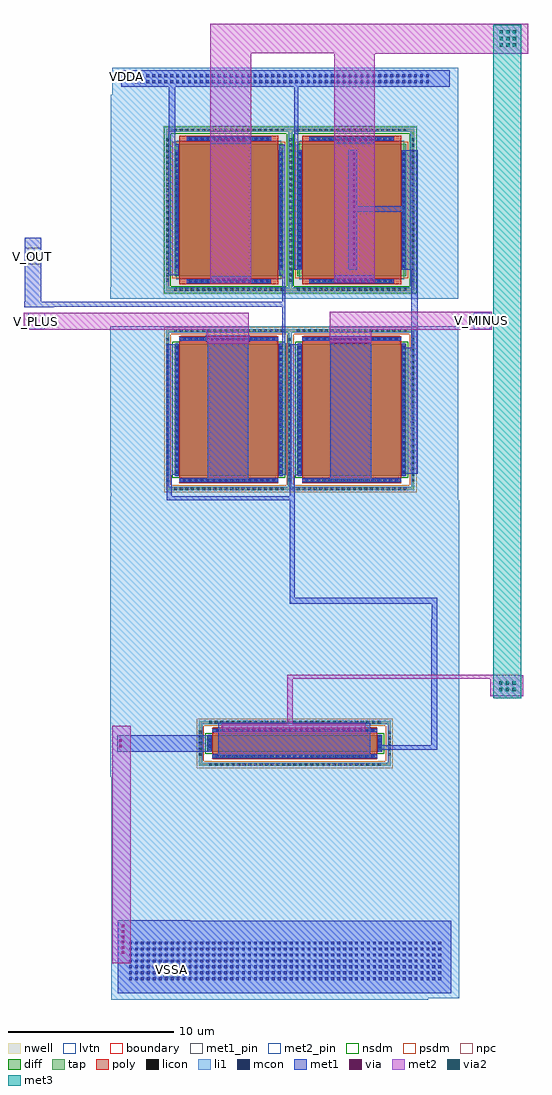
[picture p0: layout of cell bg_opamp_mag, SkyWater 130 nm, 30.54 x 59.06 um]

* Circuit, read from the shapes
.subckt bg_opamp_mag VDDA VSSA V_MINUS V_OUT V_PLUS
XM1 V_OUT V_PLUS sky130_fd_pr__nfet_01v8_GRFR5H_1/D VSSA sky130_fd_pr__nfet_01v8 w=8 l=6
XM2 sky130_fd_pr__nfet_01v8_GRFR5H_1/D sky130_fd_pr__nfet_01v8_FZAR6W_0/G VSSA VSSA sky130_fd_pr__nfet_01v8 w=1 l=10
XM3 sky130_fd_pr__nfet_01v8_FZAR6W_0/G V_MINUS sky130_fd_pr__nfet_01v8_GRFR5H_1/D VSSA sky130_fd_pr__nfet_01v8 w=8 l=6
XM4 V_OUT sky130_fd_pr__nfet_01v8_FZAR6W_0/G VDDA VDDA sky130_fd_pr__pfet_01v8_lvt w=8 l=6
XM5 sky130_fd_pr__nfet_01v8_FZAR6W_0/G sky130_fd_pr__nfet_01v8_FZAR6W_0/G VDDA VDDA sky130_fd_pr__pfet_01v8_lvt w=8 l=6
.ends

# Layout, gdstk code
import gdstk
lib = gdstk.Library(unit=1e-6, precision=1e-09)
def R(c, l, rs):  # rectangles x0, y0, x1, y1
    for r in rs: c.add(gdstk.rectangle(r[:2], r[2:], *l))
def A(c, l, x, y, w, h, nx, ny, dx, dy):  # array of equal rectangles
    R(c, l, [(x+i*dx, y+j*dy, x+i*dx+w, y+j*dy+h) for i in range(nx) for j in range(ny)])
nwell = (64, 20)
diff = (65, 20)
tap = (65, 44)
poly = (66, 20)
licon = (66, 44)
li1 = (67, 20)
mcon = (67, 44)
met1_pin = (68, 16)
met1 = (68, 20)
via = (68, 44)
met2_pin = (69, 16)
met2 = (69, 20)
via2 = (69, 44)
met3 = (70, 20)
nsdm = (93, 44)
psdm = (94, 20)
npc = (95, 20)
lvtn = (125, 44)
boundary = (235, 4)

sky130_fd_pr__nfet_01v8_ = lib.new_cell('sky130_fd_pr__nfet_01v8_FZAR6W')
R(sky130_fd_pr__nfet_01v8_, diff, [(-5.29,-0.5,5.29,0.5)])
R(sky130_fd_pr__nfet_01v8_, tap, [(-5.8,-1.37,5.8,-1.2), (-5.8,-1.2,-5.63,1.2), (5.63,-1.2,5.8,1.2), (-5.8,1.2,5.8,1.37)])
R(sky130_fd_pr__nfet_01v8_, poly, [(-5,-0.94,5,0.94)])
A(sky130_fd_pr__nfet_01v8_, licon, -5.185, -1.37, 0.17, 0.17, 31, 2, 0.34, 2.57)
A(sky130_fd_pr__nfet_01v8_, licon, -4.845, -0.86, 0.17, 0.17, 29, 2, 0.34, 1.55)
A(sky130_fd_pr__nfet_01v8_, licon, -5.8, -0.765, 0.17, 0.17, 1, 5, 0, 0.34)
A(sky130_fd_pr__nfet_01v8_, licon, 5.63, -0.765, 0.17, 0.17, 1, 5, 0, 0.34)
A(sky130_fd_pr__nfet_01v8_, licon, -5.23, -0.425, 0.17, 0.17, 1, 3, 0, 0.34)
A(sky130_fd_pr__nfet_01v8_, licon, 5.06, -0.425, 0.17, 0.17, 1, 3, 0, 0.34)
R(sky130_fd_pr__nfet_01v8_, li1, [(-5.8,-1.37,5.8,-1.2), (-5.8,-1.2,-5.63,1.2), (5.63,-1.2,5.8,1.2), (-5,-0.86,5,-0.69), (-5.23,-0.52,-5.06,0.52), (5.06,-0.52,5.23,0.52), (-5,0.69,5,0.86), (-5.8,1.2,5.8,1.37)])
A(sky130_fd_pr__nfet_01v8_, mcon, -4.765, -0.86, 0.17, 0.17, 27, 2, 0.36, 1.55)
R(sky130_fd_pr__nfet_01v8_, mcon, [(-5.23,-0.265,-5.06,-0.095), (5.06,-0.265,5.23,-0.095), (-5.23,0.095,-5.06,0.265), (5.06,0.095,5.23,0.265)])
R(sky130_fd_pr__nfet_01v8_, met1, [(-4.98,-0.89,4.98,-0.66), (-5.26,-0.5,-5.03,0.5), (5.03,-0.5,5.26,0.5), (-4.98,0.66,4.98,0.89)])
R(sky130_fd_pr__nfet_01v8_, nsdm, [(-5.415,-0.625,5.415,0.625)])
R(sky130_fd_pr__nfet_01v8_, psdm, [(-5.925,-1.495,5.925,-1.075), (-5.925,-1.075,-5.505,1.075), (5.505,-1.075,5.925,1.075), (-5.925,1.075,5.925,1.495)])
R(sky130_fd_pr__nfet_01v8_, npc, [(-4.945,-0.96,4.945,-0.59), (-4.945,0.59,4.945,0.96)])
R(sky130_fd_pr__nfet_01v8_, boundary, [(-5.715,-1.285,5.715,1.285)])
sky130_fd_pr__nfet_01v8_.add(gdstk.Label('B', (0,-1.285), layer=67, texttype=5))
sky130_fd_pr__nfet_01v8_.add(gdstk.Label('D', (-5.145,0), layer=67, texttype=5))
sky130_fd_pr__nfet_01v8_.add(gdstk.Label('S', (5.145,0), layer=67, texttype=5))
sky130_fd_pr__nfet_01v8_.add(gdstk.Label('G', (0,0.775), layer=67, texttype=5))

c_sky130_fd_pr__nfet_01v8_ = lib.new_cell('sky130_fd_pr__nfet_01v8_GRFR5H')
R(c_sky130_fd_pr__nfet_01v8_, diff, [(-3.29,-4,3.29,4)])
R(c_sky130_fd_pr__nfet_01v8_, tap, [(-3.8,-4.87,3.8,-4.7), (-3.8,-4.7,-3.63,4.7), (3.63,-4.7,3.8,4.7), (-3.8,4.7,3.8,4.87)])
R(c_sky130_fd_pr__nfet_01v8_, poly, [(-3,-4.44,3,4.44)])
A(c_sky130_fd_pr__nfet_01v8_, licon, -3.315, -4.87, 0.17, 0.17, 20, 2, 0.34, 9.57)
A(c_sky130_fd_pr__nfet_01v8_, licon, -2.805, -4.36, 0.17, 0.17, 17, 2, 0.34, 8.55)
A(c_sky130_fd_pr__nfet_01v8_, licon, -3.8, -4.335, 0.17, 0.17, 1, 26, 0, 0.34)
A(c_sky130_fd_pr__nfet_01v8_, licon, 3.63, -4.335, 0.17, 0.17, 1, 26, 0, 0.34)
A(c_sky130_fd_pr__nfet_01v8_, licon, -3.23, -3.825, 0.17, 0.17, 1, 23, 0, 0.34)
A(c_sky130_fd_pr__nfet_01v8_, licon, 3.06, -3.825, 0.17, 0.17, 1, 23, 0, 0.34)
R(c_sky130_fd_pr__nfet_01v8_, li1, [(-3.8,-4.87,3.8,-4.7), (-3.8,-4.7,-3.63,4.7), (3.63,-4.7,3.8,4.7), (-3,-4.36,3,-4.19), (-3.23,-4.02,-3.06,4.02), (3.06,-4.02,3.23,4.02), (-3,4.19,3,4.36), (-3.8,4.7,3.8,4.87)])
A(c_sky130_fd_pr__nfet_01v8_, mcon, -2.785, -4.36, 0.17, 0.17, 16, 2, 0.36, 8.55)
A(c_sky130_fd_pr__nfet_01v8_, mcon, -3.23, -3.865, 0.17, 0.17, 1, 22, 0, 0.36)
A(c_sky130_fd_pr__nfet_01v8_, mcon, 3.06, -3.865, 0.17, 0.17, 1, 22, 0, 0.36)
R(c_sky130_fd_pr__nfet_01v8_, met1, [(-2.98,-4.39,2.98,-4.16), (-3.26,-4,-3.03,4), (3.03,-4,3.26,4), (-2.98,4.16,2.98,4.39)])
R(c_sky130_fd_pr__nfet_01v8_, nsdm, [(-3.415,-4.125,3.415,4.125)])
R(c_sky130_fd_pr__nfet_01v8_, psdm, [(-3.925,-4.995,3.925,-4.575), (-3.925,-4.575,-3.505,4.575), (3.505,-4.575,3.925,4.575), (-3.925,4.575,3.925,4.995)])
R(c_sky130_fd_pr__nfet_01v8_, npc, [(-2.905,-4.46,2.905,-4.09), (-2.905,4.09,2.905,4.46)])
R(c_sky130_fd_pr__nfet_01v8_, boundary, [(-3.715,-4.785,3.715,4.785)])
c_sky130_fd_pr__nfet_01v8_.add(gdstk.Label('B', (0,-4.785), layer=67, texttype=5))
c_sky130_fd_pr__nfet_01v8_.add(gdstk.Label('D', (-3.145,0), layer=67, texttype=5))
c_sky130_fd_pr__nfet_01v8_.add(gdstk.Label('S', (3.145,0), layer=67, texttype=5))
c_sky130_fd_pr__nfet_01v8_.add(gdstk.Label('G', (0,4.275), layer=67, texttype=5))

sky130_fd_pr__pfet_01v8_ = lib.new_cell('sky130_fd_pr__pfet_01v8_lvt_KLHPYA')
R(sky130_fd_pr__pfet_01v8_, nwell, [(-3.98,-5.095,3.98,5.095)])
R(sky130_fd_pr__pfet_01v8_, diff, [(-3.29,-4,3.29,4)])
R(sky130_fd_pr__pfet_01v8_, tap, [(-3.8,-4.915,3.8,-4.745), (-3.8,-4.745,-3.63,4.745), (3.63,-4.745,3.8,4.745), (-3.8,4.745,3.8,4.915)])
R(sky130_fd_pr__pfet_01v8_, poly, [(-3,-4.485,3,4.485)])
A(sky130_fd_pr__pfet_01v8_, licon, -3.315, -4.915, 0.17, 0.17, 20, 2, 0.34, 9.66)
A(sky130_fd_pr__pfet_01v8_, licon, -2.465, -4.405, 0.17, 0.17, 15, 2, 0.34, 8.64)
A(sky130_fd_pr__pfet_01v8_, licon, -3.8, -4.335, 0.17, 0.17, 1, 26, 0, 0.34)
A(sky130_fd_pr__pfet_01v8_, licon, 3.63, -4.335, 0.17, 0.17, 1, 26, 0, 0.34)
A(sky130_fd_pr__pfet_01v8_, licon, -3.23, -3.485, 0.17, 0.17, 1, 21, 0, 0.34)
A(sky130_fd_pr__pfet_01v8_, licon, 3.06, -3.485, 0.17, 0.17, 1, 21, 0, 0.34)
R(sky130_fd_pr__pfet_01v8_, li1, [(-3.8,-4.915,3.8,-4.745), (-3.8,-4.745,-3.63,4.745), (3.63,-4.745,3.8,4.745), (-2.555,-4.405,2.545,-4.235), (3.06,-3.605,3.23,3.61), (-3.23,-3.595,-3.06,3.625), (-2.555,4.235,2.55,4.405), (-2.555,4.405,-2.245,4.41), (-3.8,4.745,3.8,4.915)])
A(sky130_fd_pr__pfet_01v8_, mcon, -2.425, -4.405, 0.17, 0.17, 14, 2, 0.36, 8.64)
A(sky130_fd_pr__pfet_01v8_, mcon, -3.23, -3.505, 0.17, 0.17, 1, 20, 0, 0.36)
A(sky130_fd_pr__pfet_01v8_, mcon, 3.06, -3.505, 0.17, 0.17, 1, 20, 0, 0.36)
R(sky130_fd_pr__pfet_01v8_, met1, [(-2.555,-4.435,2.545,-4.205), (3.03,-3.605,3.26,3.61), (-3.26,-3.595,-3.03,3.625), (-2.555,4.205,2.55,4.435)])
R(sky130_fd_pr__pfet_01v8_, nsdm, [(-3.925,-5.04,3.925,-4.62), (-3.925,-4.62,-3.505,4.62), (3.505,-4.62,3.925,4.62), (-3.925,4.62,3.925,5.04)])
R(sky130_fd_pr__pfet_01v8_, psdm, [(-3.415,-4.125,3.415,4.125)])
R(sky130_fd_pr__pfet_01v8_, npc, [(-2.565,-4.505,2.565,-4.135), (-2.565,4.135,2.565,4.505)])
R(sky130_fd_pr__pfet_01v8_, lvtn, [(-3.18,-4.18,3.18,4.18)])
R(sky130_fd_pr__pfet_01v8_, boundary, [(-3.715,-4.83,3.715,4.83)])
sky130_fd_pr__pfet_01v8_.add(gdstk.Label('B', (0,-4.83), layer=67, texttype=5))
sky130_fd_pr__pfet_01v8_.add(gdstk.Label('D', (-3.145,0), layer=67, texttype=5))
sky130_fd_pr__pfet_01v8_.add(gdstk.Label('S', (3.145,0), layer=67, texttype=5))
sky130_fd_pr__pfet_01v8_.add(gdstk.Label('G', (0,4.32), layer=67, texttype=5))

bg_opamp_mag = lib.new_cell('bg_opamp_mag')
R(bg_opamp_mag, li1, [(9.47,-9.03,28.65,-8.94), (9.47,-8.94,30.52,4.44), (9.4,4.44,30.52,5.31), (9.4,5.31,15.01,7.64), (26.21,5.31,30.52,7.64), (9.4,7.64,30.52,21.19), (9.4,21.19,30.47,21.42), (9.43,21.42,30.47,21.66), (9.41,21.66,30.47,21.99), (9.41,21.99,12.97,31.32), (20.16,21.99,20.39,31.32), (27.63,21.99,30.47,31.32), (9.41,31.32,30.47,31.72), (9.4,33.37,30.47,34.06), (9.44,34.06,12.98,43.48), (20.19,34.06,20.45,43.48), (27.57,34.06,30.47,43.48), (9.44,43.48,30.47,45.72), (9.53,45.72,30.47,47.36)])
A(bg_opamp_mag, mcon, 10.55, -7.86, 0.17, 0.17, 53, 7, 0.36, 0.36)
A(bg_opamp_mag, mcon, 10.88, 46.425, 0.17, 0.17, 50, 2, 0.36, 0.36)
R(bg_opamp_mag, met1_pin, [(12.61,-7.69,13.61,-6.69), (4.23,35.46,5.23,36.46)])
R(bg_opamp_mag, met1, [(9.85,-8.66,30.05,-4.26), (9.85,-4.26,14.25,-4.24), (15.95,5.6,25.14,7.72), (9.83,5.97,15.54,6.09), (25.64,6.07,29.21,6.35), (9.83,6.09,15.55,6.97), (28.84,6.35,29.21,13.99), (28.875,13.99,29.21,14.92), (20.27,14.92,29.21,15.28), (20.27,15.28,20.58,16.75), (20.28,16.75,20.57,21.17), (12.82,21.17,20.57,21.43), (12.82,21.43,13.12,22.72), (20.28,21.43,20.57,21.47), (20.28,21.47,20.56,22.68), (15.3,22.27,17.77,30.79), (22.72,22.28,25.19,31.13), (13.3,22.67,13.53,22.72), (20.28,22.68,20.97,23.95), (12.82,22.72,13.54,23.02), (19.65,22.72,20.07,30.59), (27.09,22.795,28.02,30.41), (12.83,23.02,13.54,30.61), (20.3,23.95,20.97,30.61), (27.615,30.41,28.02,35.13), (19.81,30.59,20.07,30.67), (19.81,30.67,19.99,32.89), (15.2,30.79,17.85,31.16), (4.22,32.87,6.03,32.89), (4.22,32.89,19.99,33.19), (4.23,33.19,5.23,37.08), (19.81,33.19,19.99,34.81), (15.48,34.31,17.95,34.35), (23,34.34,25.39,34.8), (15.47,34.35,17.95,34.54), (15.48,34.54,17.95,34.735), (13.305,34.79,13.55,34.795), (12.94,34.795,13.55,42.72), (19.63,34.81,19.99,42.68), (23.825,35.13,24.365,38.63), (27.05,35.13,28.02,35.16), (20.54,35.14,20.79,35.665), (27.065,35.16,28.02,35.2), (27.065,35.2,27.155,38.63), (27.25,35.2,28.02,42.2), (20.53,35.665,20.96,42.255), (23.825,38.63,27.155,38.96), (23.825,38.96,24.365,42.385), (27.065,38.96,27.155,42.2), (27.065,42.2,28.02,42.36), (20.53,42.255,20.8,42.385), (27.215,42.36,28.02,42.37), (20.53,42.385,20.775,46.21), (12.94,42.72,13.33,46.21), (15.455,42.755,17.925,43.18), (23,42.78,25.39,43.13), (15.475,43.18,17.86,43.195), (10.085,46.21,29.94,47.195)])
A(bg_opamp_mag, via, 10.105, -6.27, 0.15, 0.15, 1, 6, 0, 0.32)
A(bg_opamp_mag, via, 16.435, 7.265, 0.15, 0.15, 26, 1, 0.32, 0)
A(bg_opamp_mag, via, 15.49, 30.82, 0.15, 0.15, 7, 1, 0.32, 0)
A(bg_opamp_mag, via, 22.905, 30.82, 0.15, 0.15, 7, 1, 0.32, 0)
A(bg_opamp_mag, via, 15.865, 34.45, 0.15, 0.15, 6, 1, 0.32, 0)
A(bg_opamp_mag, via, 23.19, 34.45, 0.15, 0.15, 7, 1, 0.32, 0)
A(bg_opamp_mag, via, 24.08, 35.355, 0.15, 0.15, 1, 22, 0, 0.32)
A(bg_opamp_mag, via, 15.84, 42.9, 0.15, 0.15, 6, 1, 0.32, 0)
A(bg_opamp_mag, via, 23.17, 42.91, 0.15, 0.15, 7, 1, 0.32, 0)
R(bg_opamp_mag, via, [(9.945,6.24,10.095,6.39), (9.945,6.56,10.095,6.71)])
R(bg_opamp_mag, met2_pin, [(4.44,31.52,5.44,32.52), (31.4,31.53,32.4,32.53)])
R(bg_opamp_mag, met2, [(9.52,-6.83,10.64,7.54), (16.17,7.15,24.83,7.65), (20.11,7.65,20.45,10.37), (32.41,9.31,34.41,10.37), (20.11,10.37,34.41,10.59), (20.11,10.59,34.09,10.61), (20.23,10.61,34.09,10.62), (15.25,30.66,17.79,31.5), (22.69,30.68,25.21,31.51), (4.19,31.49,6.3,31.5), (4.19,31.5,17.79,31.7), (22.68,31.51,32.5,32.58), (4.17,31.7,17.79,32.34), (4.19,32.34,17.79,32.54), (15.455,34.32,17.945,43.99), (22.95,34.335,25.43,39.095), (22.95,39.095,25.41,42.99), (22.95,42.99,25.43,45.745), (15.46,43.99,17.93,48.22), (22.95,45.745,25.42,48.21), (22.95,48.21,34.71,48.22), (15.45,48.22,34.71,50.03)])
A(bg_opamp_mag, via2, 32.935, 9.625, 0.2, 0.2, 3, 2, 0.4, 0.4)
A(bg_opamp_mag, via2, 32.97, 48.63, 0.2, 0.2, 3, 3, 0.4, 0.4)
R(bg_opamp_mag, met3, [(32.58,9.21,34.27,49.96)])
bg_opamp_mag.add(gdstk.Reference(sky130_fd_pr__nfet_01v8_, (20.58,6.47)))
bg_opamp_mag.add(gdstk.Reference(c_sky130_fd_pr__nfet_01v8_, (24.02,26.66)))
bg_opamp_mag.add(gdstk.Reference(sky130_fd_pr__pfet_01v8_, (24.02,38.745)))
bg_opamp_mag.add(gdstk.Reference(sky130_fd_pr__pfet_01v8_, (16.59,38.745)))
bg_opamp_mag.add(gdstk.Reference(c_sky130_fd_pr__nfet_01v8_, (16.59,26.66)))
bg_opamp_mag.add(gdstk.Label('VDDA', (10.39,46.84), layer=68, texttype=5))
bg_opamp_mag.add(gdstk.Label('VSSA', (13.11,-7.19), layer=68, texttype=5))
bg_opamp_mag.add(gdstk.Label('V_PLUS', (4.94,32.02), layer=69, texttype=5))
bg_opamp_mag.add(gdstk.Label('V_MINUS', (31.9,32.03), layer=69, texttype=5))
bg_opamp_mag.add(gdstk.Label('V_OUT', (4.73,35.96), layer=68, texttype=5))

lib.write_gds('bg_opamp_mag.gds')
